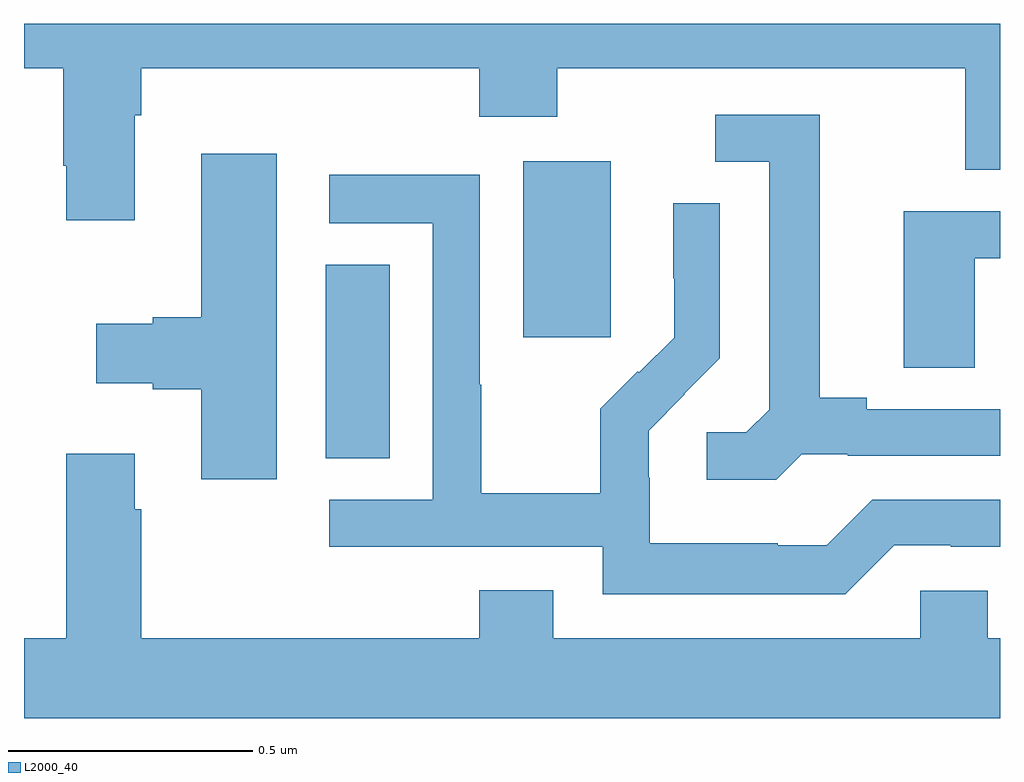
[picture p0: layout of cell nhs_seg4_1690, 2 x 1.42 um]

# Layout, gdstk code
import gdstk
lib = gdstk.Library(unit=1e-6, precision=1e-09)
def R(c, l, rs):  # rectangles x0, y0, x1, y1
    for r in rs: c.add(gdstk.rectangle(r[:2], r[2:], *l))
def P(c, l, *ps):  # polygons
    for p in ps: c.add(gdstk.Polygon(p, *l))
L2000_40 = (2000, 40)

nhs_seg4_1690 = lib.new_cell('nhs_seg4_1690')
R(nhs_seg4_1690, L2000_40, [(131.618,808.009,131.749,808.406), (132.023,808.257,132.202,808.618)])
P(nhs_seg4_1690, L2000_40, [(131.227,808.712),(131.24,808.712),(131.24,808.808),(131.933,808.808),(131.933,808.709),(132.093,808.709),(132.093,808.808),(132.929,808.808),(132.929,808.6),(133,808.6),(133,808.9),(131,808.9),(131,808.808),(131.08,808.808),(131.08,808.609),(131.087,808.609),(131.087,808.497),(131.227,808.497)],
  [(132.594,808.017),(132.688,808.017),(132.688,808.014),(133,808.014),(133,808.11),(132.727,808.11),(132.727,808.133),(132.631,808.133),(132.631,808.713),(132.417,808.713),(132.417,808.617),(132.527,808.617),(132.527,808.109),(132.48,808.062),(132.399,808.062),(132.399,807.965),(132.542,807.965)],
  [(131.518,808.633),(131.363,808.633),(131.363,808.298),(131.264,808.298),(131.264,808.285),(131.148,808.285),(131.148,808.163),(131.264,808.163),(131.264,808.151),(131.363,808.151),(131.363,807.966),(131.518,807.966)],
  [(132.783,807.831),(132.899,807.831),(132.899,807.828),(133,807.828),(133,807.924),(132.738,807.924),(132.645,807.831),(132.545,807.831),(132.545,807.835),(132.282,807.835),(132.282,807.969),(132.28,807.969),(132.28,808.066),(132.354,808.14),(132.353,808.141),(132.426,808.214),(132.426,808.532),(132.33,808.532),(132.33,808.378),(132.332,808.378),(132.332,808.256),(132.261,808.185),(132.258,808.188),(132.181,808.111),(132.181,807.937),(131.937,807.937),(131.937,808.16),(131.934,808.16),(131.934,808.59),(131.625,808.59),(131.625,808.491),(131.838,808.491),(131.838,807.924),(131.625,807.924),(131.625,807.828),(132.186,807.828),(132.186,807.731),(132.683,807.731)],
  [(132.948,808.419),(133,808.419),(133,808.515),(132.803,808.515),(132.803,808.195),(132.948,808.195)],
  [(133,807.64),(132.975,807.64),(132.975,807.738),(132.837,807.738),(132.837,807.64),(132.085,807.64),(132.085,807.739),(131.933,807.739),(131.933,807.64),(131.24,807.64),(131.24,807.905),(131.227,807.905),(131.227,808.018),(131.087,808.018),(131.087,807.64),(131,807.64),(131,807.476),(133,807.476)])

lib.write_gds('nhs_seg4_1690.gds')
